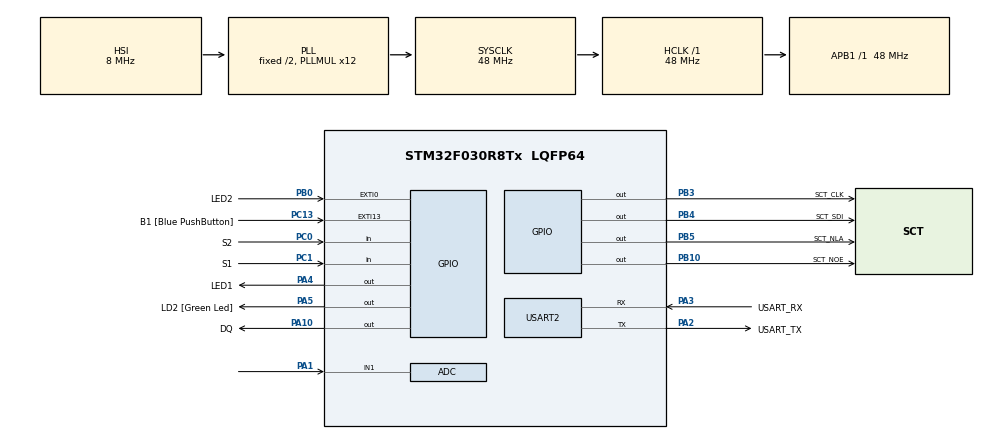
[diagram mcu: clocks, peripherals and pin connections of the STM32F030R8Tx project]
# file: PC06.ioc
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ADC.ContinuousConvMode=ENABLE
ADC.Overrun=ADC_OVR_DATA_OVERWRITTEN
ADC.Resolution=ADC_RESOLUTION_10B
Mcu.Family=STM32F0
Mcu.Name=STM32F030R8Tx
Mcu.Package=LQFP64
PA1.Mode=IN1
PA1.Signal=ADC_IN1
PA10.GPIO_Label=DQ
PA10.GPIO_ModeDefaultOutputPP=GPIO_MODE_OUTPUT_OD
PA10.GPIO_PuPd=GPIO_NOPULL
PA10.PinState=GPIO_PIN_SET
PA10.Signal=GPIO_Output
PA13.GPIO_Label=TMS
PA13.Mode=Serial_Wire
PA13.Signal=SYS_SWDIO
PA14.GPIO_Label=TCK
PA14.Mode=Serial_Wire
PA14.Signal=SYS_SWCLK
PA2.GPIO_Label=USART_TX
PA2.GPIO_Mode=GPIO_MODE_AF_PP
PA2.GPIO_PuPd=GPIO_NOPULL
PA2.GPIO_Speed=GPIO_SPEED_FREQ_LOW
PA2.Mode=Asynchronous
PA2.Signal=USART2_TX
PA3.GPIO_Label=USART_RX
PA3.GPIO_Mode=GPIO_MODE_AF_PP
PA3.GPIO_PuPd=GPIO_NOPULL
PA3.GPIO_Speed=GPIO_SPEED_FREQ_LOW
PA3.Mode=Asynchronous
PA3.Signal=USART2_RX
PA4.GPIO_Label=LED1
PA4.Signal=GPIO_Output
PA5.GPIO_Label=LD2 [Green Led]
PA5.GPIO_Mode=GPIO_MODE_OUTPUT_PP
PA5.GPIO_PuPd=GPIO_NOPULL
PA5.GPIO_Speed=GPIO_SPEED_FREQ_LOW
PA5.Signal=GPIO_Output
PB0.GPIO_Label=LED2
PB0.Signal=GPXTI0
PB10.GPIO_Label=SCT_NOE
PB10.Signal=GPIO_Output
PB3.GPIO_Label=SCT_CLK
PB3.Signal=GPIO_Output
PB4.GPIO_Label=SCT_SDI
PB4.Signal=GPIO_Output
PB5.GPIO_Label=SCT_NLA
PB5.Signal=GPIO_Output
PC0.GPIO_Label=S2
PC0.GPIO_PuPd=GPIO_PULLUP
PC0.Signal=GPIO_Input
PC1.GPIO_Label=S1
PC1.GPIO_PuPd=GPIO_PULLUP
PC1.Signal=GPIO_Input
PC13.GPIO_Label=B1 [Blue PushButton]
PC13.GPIO_ModeDefaultEXTI=GPIO_MODE_IT_FALLING
PC13.Signal=GPXTI13
PC14-OSC32_IN.Mode=LSE-External-Oscillator
PC14-OSC32_IN.Signal=RCC_OSC32_IN
PC15-OSC32_OUT.Mode=LSE-External-Oscillator
PC15-OSC32_OUT.Signal=RCC_OSC32_OUT
PF0-OSC_IN.Mode=HSE-External-Clock-Source
PF0-OSC_IN.Signal=RCC_OSC_IN
PF1-OSC_OUT.Signal=RCC_OSC_OUT
ProjectManager.HeapSize=0x200
ProjectManager.StackSize=0x400
ProjectManager.TargetToolchain=STM32CubeIDE
RCC.AHBFreq_Value=48000000
RCC.APB1Freq_Value=48000000
RCC.APB1TimFreq_Value=48000000
RCC.HCLKFreq_Value=48000000
RCC.PLLMUL=RCC_PLL_MUL12
RCC.SYSCLKFreq_VALUE=48000000
RCC.SYSCLKSource=RCC_SYSCLKSOURCE_PLLCLK
USART2.VirtualMode-Asynchronous=VM_ASYNC
board=NUCLEO-F030R8

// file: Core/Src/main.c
/* USER CODE BEGIN Header */
/**
  ******************************************************************************
  * @file           : main.c
  * @brief          : Main program body
  ******************************************************************************
  * @attention
  *
  * Copyright (c) 2025 STMicroelectronics.
  * All rights reserved.
  *
  * This software is licensed under terms that can be found in the LICENSE file
  * in the root directory of this software component.
  * If no LICENSE file comes with this software, it is provided AS-IS.
  *
  ******************************************************************************
  */
/* USER CODE END Header */
#include "main.h"

/* USER CODE BEGIN Includes */
#include "sct.h"
#include "1wire.h"

/* USER CODE END Includes */

/* USER CODE BEGIN PD */
#define CONVERT_T_DELAY 750
/* USER CODE END PD */

ADC_HandleTypeDef hadc;

UART_HandleTypeDef huart2;

void SystemClock_Config(void);
static void MX_GPIO_Init(void);
static void MX_USART2_UART_Init(void);
static void MX_ADC_Init(void);

int main(void)
{

  /* MCU Configuration--------------------------------------------------------*/

  /* Reset of all peripherals, Initializes the Flash interface and the Systick. */
  HAL_Init();

  /* Configure the system clock */
  SystemClock_Config();

  /* Initialize all configured peripherals */
  MX_GPIO_Init();
  MX_USART2_UART_Init();
  MX_ADC_Init();
  /* USER CODE BEGIN 2 */
  sct_init();
  OWInit();
  HAL_ADCEx_Calibration_Start(&hadc);
  HAL_ADC_Start(&hadc);
  /* USER CODE END 2 */

  /* Infinite loop */
  while (1)
  {

	  /* USER CODE BEGIN 3 */
	  static const int16_t ntc_lookup[] = {
          #include "data.dlm"
	  };
	  static uint32_t delay;

	  static enum { DS, NTC } state = DS;

	  if(HAL_GPIO_ReadPin(S1_GPIO_Port, S1_Pin) == 0){
		  state = DS;
		  delay = HAL_GetTick();
	  }

	  if(HAL_GPIO_ReadPin(S2_GPIO_Port, S2_Pin) == 0){
		  state = NTC;
		  delay = HAL_GetTick();
	  }

	  switch (state){
	  case DS:
		  if (HAL_GetTick() > delay + CONVERT_T_DELAY) {
			  int16_t temp;

			  HAL_GPIO_WritePin(LED2_GPIO_Port, LED2_Pin, 1);
			  HAL_GPIO_WritePin(LED1_GPIO_Port, LED1_Pin, 0);

			  OWConvertAll();
			  OWReadTemperature(&temp);
			  sct_value(temp / 10, 0);
		  }
		  break;

	  case NTC:
		  if (HAL_GetTick() > delay + 100) {
			  uint32_t ADC_value;
			  ADC_value = HAL_ADC_GetValue(&hadc);

			  HAL_GPIO_WritePin(LED1_GPIO_Port, LED1_Pin, 1);
			  HAL_GPIO_WritePin(LED2_GPIO_Port, LED2_Pin, 0);

			  sct_value(ntc_lookup[ADC_value], 0);
			  HAL_Delay(100);
		  }
		  break;
	  }

  }
  /* USER CODE END 3 */
}

void SystemClock_Config(void)
{
  RCC_OscInitTypeDef RCC_OscInitStruct = {0};
  RCC_ClkInitTypeDef RCC_ClkInitStruct = {0};

  /** Initializes the RCC Oscillators according to the specified parameters
  * in the RCC_OscInitTypeDef structure.
  */
  RCC_OscInitStruct.OscillatorType = RCC_OSCILLATORTYPE_HSI|RCC_OSCILLATORTYPE_HSI14;
  RCC_OscInitStruct.HSIState = RCC_HSI_ON;
  RCC_OscInitStruct.HSI14State = RCC_HSI14_ON;
  RCC_OscInitStruct.HSICalibrationValue = RCC_HSICALIBRATION_DEFAULT;
  RCC_OscInitStruct.HSI14CalibrationValue = 16;
  RCC_OscInitStruct.PLL.PLLState = RCC_PLL_ON;
  RCC_OscInitStruct.PLL.PLLSource = RCC_PLLSOURCE_HSI;
  RCC_OscInitStruct.PLL.PLLMUL = RCC_PLL_MUL12;
  RCC_OscInitStruct.PLL.PREDIV = RCC_PREDIV_DIV1;
  if (HAL_RCC_OscConfig(&RCC_OscInitStruct) != HAL_OK)
  {
    Error_Handler();
  }

  /** Initializes the CPU, AHB and APB buses clocks
  */
  RCC_ClkInitStruct.ClockType = RCC_CLOCKTYPE_HCLK|RCC_CLOCKTYPE_SYSCLK
                              |RCC_CLOCKTYPE_PCLK1;
  RCC_ClkInitStruct.SYSCLKSource = RCC_SYSCLKSOURCE_PLLCLK;
  RCC_ClkInitStruct.AHBCLKDivider = RCC_SYSCLK_DIV1;
  RCC_ClkInitStruct.APB1CLKDivider = RCC_HCLK_DIV1;

  if (HAL_RCC_ClockConfig(&RCC_ClkInitStruct, FLASH_LATENCY_1) != HAL_OK)
  {
    Error_Handler();
  }
}

static void MX_ADC_Init(void)
{

  ADC_ChannelConfTypeDef sConfig = {0};

  /** Configure the global features of the ADC (Clock, Resolution, Data Alignment and number of conversion)
  */
  hadc.Instance = ADC1;
  hadc.Init.ClockPrescaler = ADC_CLOCK_ASYNC_DIV1;
  hadc.Init.Resolution = ADC_RESOLUTION_10B;
  hadc.Init.DataAlign = ADC_DATAALIGN_RIGHT;
  hadc.Init.ScanConvMode = ADC_SCAN_DIRECTION_FORWARD;
  hadc.Init.EOCSelection = ADC_EOC_SINGLE_CONV;
  hadc.Init.LowPowerAutoWait = DISABLE;
  hadc.Init.LowPowerAutoPowerOff = DISABLE;
  hadc.Init.ContinuousConvMode = ENABLE;
  hadc.Init.DiscontinuousConvMode = DISABLE;
  hadc.Init.ExternalTrigConv = ADC_SOFTWARE_START;
  hadc.Init.ExternalTrigConvEdge = ADC_EXTERNALTRIGCONVEDGE_NONE;
  hadc.Init.DMAContinuousRequests = DISABLE;
  hadc.Init.Overrun = ADC_OVR_DATA_OVERWRITTEN;
  if (HAL_ADC_Init(&hadc) != HAL_OK)
  {
    Error_Handler();
  }

  /** Configure for the selected ADC regular channel to be converted.
  */
  sConfig.Channel = ADC_CHANNEL_1;
  sConfig.Rank = ADC_RANK_CHANNEL_NUMBER;
  sConfig.SamplingTime = ADC_SAMPLETIME_1CYCLE_5;
  if (HAL_ADC_ConfigChannel(&hadc, &sConfig) != HAL_OK)
  {
    Error_Handler();
  }

}

static void MX_USART2_UART_Init(void)
{

  huart2.Instance = USART2;
  huart2.Init.BaudRate = 38400;
  huart2.Init.WordLength = UART_WORDLENGTH_8B;
  huart2.Init.StopBits = UART_STOPBITS_1;
  huart2.Init.Parity = UART_PARITY_NONE;
  huart2.Init.Mode = UART_MODE_TX_RX;
  huart2.Init.HwFlowCtl = UART_HWCONTROL_NONE;
  huart2.Init.OverSampling = UART_OVERSAMPLING_16;
  huart2.Init.OneBitSampling = UART_ONE_BIT_SAMPLE_DISABLE;
  huart2.AdvancedInit.AdvFeatureInit = UART_ADVFEATURE_NO_INIT;
  if (HAL_UART_Init(&huart2) != HAL_OK)
  {
    Error_Handler();
  }

}

static void MX_GPIO_Init(void)
{
  GPIO_InitTypeDef GPIO_InitStruct = {0};

  /* GPIO Ports Clock Enable */
  __HAL_RCC_GPIOC_CLK_ENABLE();
  __HAL_RCC_GPIOF_CLK_ENABLE();
  __HAL_RCC_GPIOA_CLK_ENABLE();
  __HAL_RCC_GPIOB_CLK_ENABLE();

  /*Configure GPIO pin Output Level */
  HAL_GPIO_WritePin(GPIOA, LED1_Pin|LD2_Pin, GPIO_PIN_RESET);

  /*Configure GPIO pin Output Level */
  HAL_GPIO_WritePin(GPIOB, LED2_Pin|SCT_NOE_Pin|SCT_CLK_Pin|SCT_SDI_Pin
                          |SCT_NLA_Pin, GPIO_PIN_RESET);

  /*Configure GPIO pin Output Level */
  HAL_GPIO_WritePin(DQ_GPIO_Port, DQ_Pin, GPIO_PIN_SET);

  /*Configure GPIO pin : B1_Pin */
  GPIO_InitStruct.Pin = B1_Pin;
  GPIO_InitStruct.Mode = GPIO_MODE_IT_FALLING;
  GPIO_InitStruct.Pull = GPIO_NOPULL;
  HAL_GPIO_Init(B1_GPIO_Port, &GPIO_InitStruct);

  /*Configure GPIO pins : S2_Pin S1_Pin */
  GPIO_InitStruct.Pin = S2_Pin|S1_Pin;
  GPIO_InitStruct.Mode = GPIO_MODE_INPUT;
  GPIO_InitStruct.Pull = GPIO_PULLUP;
  HAL_GPIO_Init(GPIOC, &GPIO_InitStruct);

  /*Configure GPIO pins : LED1_Pin LD2_Pin */
  GPIO_InitStruct.Pin = LED1_Pin|LD2_Pin;
  GPIO_InitStruct.Mode = GPIO_MODE_OUTPUT_PP;
  GPIO_InitStruct.Pull = GPIO_NOPULL;
  GPIO_InitStruct.Speed = GPIO_SPEED_FREQ_LOW;
  HAL_GPIO_Init(GPIOA, &GPIO_InitStruct);

  /*Configure GPIO pins : LED2_Pin SCT_NOE_Pin SCT_CLK_Pin SCT_SDI_Pin
                           SCT_NLA_Pin */
  GPIO_InitStruct.Pin = LED2_Pin|SCT_NOE_Pin|SCT_CLK_Pin|SCT_SDI_Pin
                          |SCT_NLA_Pin;
  GPIO_InitStruct.Mode = GPIO_MODE_OUTPUT_PP;
  GPIO_InitStruct.Pull = GPIO_NOPULL;
  GPIO_InitStruct.Speed = GPIO_SPEED_FREQ_LOW;
  HAL_GPIO_Init(GPIOB, &GPIO_InitStruct);

  /*Configure GPIO pin : DQ_Pin */
  GPIO_InitStruct.Pin = DQ_Pin;
  GPIO_InitStruct.Mode = GPIO_MODE_OUTPUT_OD;
  GPIO_InitStruct.Pull = GPIO_NOPULL;
  GPIO_InitStruct.Speed = GPIO_SPEED_FREQ_LOW;
  HAL_GPIO_Init(DQ_GPIO_Port, &GPIO_InitStruct);

}

void Error_Handler(void)
{
  __disable_irq();
  while (1)
  {
  }
}
